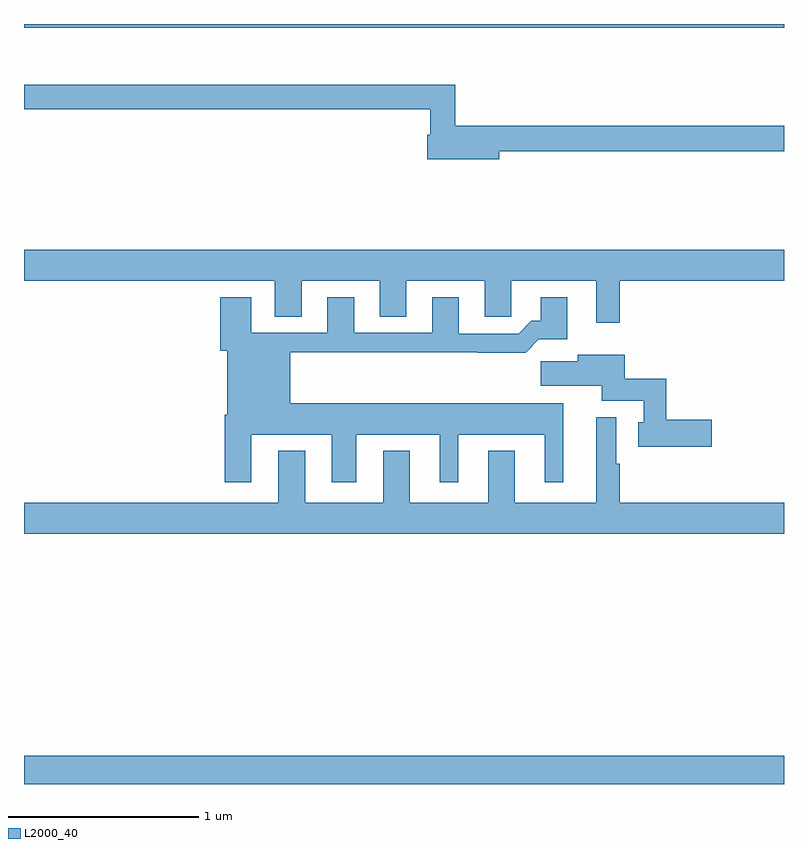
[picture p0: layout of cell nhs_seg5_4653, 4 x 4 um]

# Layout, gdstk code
import gdstk
lib = gdstk.Library(unit=1e-6, precision=1e-09)
def R(c, l, rs):  # rectangles x0, y0, x1, y1
    for r in rs: c.add(gdstk.rectangle(r[:2], r[2:], *l))
def P(c, l, *ps):  # polygons
    for p in ps: c.add(gdstk.Polygon(p, *l))
L2000_40 = (2000, 40)

nhs_seg5_4653 = lib.new_cell('nhs_seg5_4653')
R(nhs_seg5_4653, L2000_40, [(385,832.799,389,832.948), (385,836.78,389,836.799)])
P(nhs_seg5_4653, L2000_40, [(387.502,836.128),(389,836.128),(389,836.264),(387.269,836.264),(387.269,836.479),(385,836.479),(385,836.35),(387.137,836.35),(387.137,836.215),(387.122,836.215),(387.122,836.086),(387.502,836.086)],
  [(388.135,835.448),(389,835.448),(389,835.612),(385,835.612),(385,835.448),(386.321,835.448),(386.321,835.258),(386.461,835.258),(386.461,835.448),(386.873,835.448),(386.873,835.258),(387.013,835.258),(387.013,835.448),(387.425,835.448),(387.425,835.258),(387.564,835.258),(387.564,835.448),(388.013,835.448),(388.013,835.227),(388.135,835.227)],
  [(386.197,834.638),(386.621,834.638),(386.621,834.387),(386.749,834.387),(386.749,834.638),(387.188,834.638),(387.188,834.387),(387.286,834.387),(387.286,834.638),(387.74,834.638),(387.74,834.387),(387.838,834.387),(387.838,834.802),(386.401,834.802),(386.401,835.072),(387.385,835.072),(387.385,835.07),(387.641,835.07),(387.71,835.139),(387.859,835.139),(387.859,835.36),(387.719,835.36),(387.719,835.237),(387.67,835.237),(387.603,835.17),(387.289,835.17),(387.289,835.36),(387.149,835.36),(387.149,835.173),(386.737,835.173),(386.737,835.36),(386.597,835.36),(386.597,835.173),(386.197,835.173),(386.197,835.36),(386.033,835.36),(386.033,835.08),(386.069,835.08),(386.069,834.742),(386.057,834.742),(386.057,834.387),(386.197,834.387)],
  [(388.621,834.716),(388.379,834.716),(388.379,834.932),(388.163,834.932),(388.163,835.057),(387.914,835.057),(387.914,835.025),(387.72,835.025),(387.72,834.896),(388.04,834.896),(388.04,834.816),(388.262,834.816),(388.262,834.703),(388.232,834.703),(388.232,834.574),(388.621,834.574)],
  [(389,834.28),(388.135,834.28),(388.135,834.485),(388.117,834.485),(388.117,834.73),(388.013,834.73),(388.013,834.28),(387.583,834.28),(387.583,834.553),(387.443,834.553),(387.443,834.28),(387.031,834.28),(387.031,834.553),(386.891,834.553),(386.891,834.28),(386.479,834.28),(386.479,834.553),(386.339,834.553),(386.339,834.28),(385,834.28),(385,834.116),(389,834.116)])

lib.write_gds('nhs_seg5_4653.gds')
